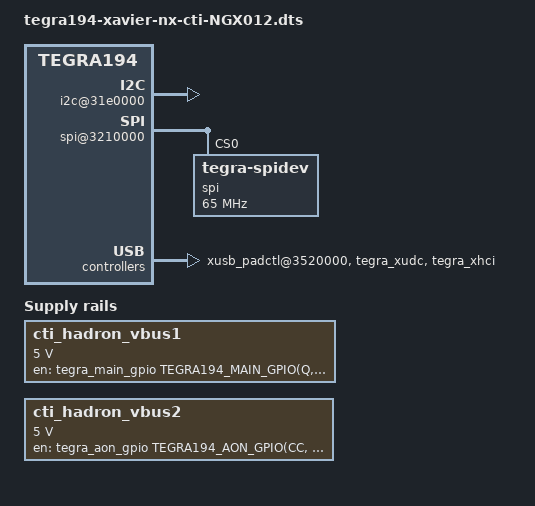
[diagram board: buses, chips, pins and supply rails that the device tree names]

/dts-v1/;
#include <dt-bindings/gpio/tegra194-gpio.h>
#include "tegra194-xavier-nx-cti-base.dtsi"
#include <dt-bindings/pinctrl/pinctrl-tegra.h>
/ {
	nvidia,dtsfilename = "tegra194-xavier-nx-cti-NGX012.dts";

pinmux@2430000 {

pinmux_default: common {
    uart1_tx_pr2 {
				nvidia,pins = "uart1_tx_pr2";
				nvidia,function = "uarta";
				nvidia,pull = <TEGRA_PIN_PULL_NONE>;
				nvidia,tristate = <TEGRA_PIN_DISABLE>;
				nvidia,enable-input = <TEGRA_PIN_DISABLE>;
				nvidia,io-high-voltage = <TEGRA_PIN_DISABLE>;
				nvidia,lpdr = <TEGRA_PIN_DISABLE>;
			};

			uart1_rx_pr3 {
				nvidia,pins = "uart1_rx_pr3";
				nvidia,function = "uarta";
				nvidia,pull = <TEGRA_PIN_PULL_DOWN>;
				nvidia,tristate = <TEGRA_PIN_ENABLE>;
				nvidia,enable-input = <TEGRA_PIN_ENABLE>;
				nvidia,io-high-voltage = <TEGRA_PIN_DISABLE>;
				nvidia,lpdr = <TEGRA_PIN_DISABLE>;
			};

			uart1_rts_pr4 {
				nvidia,pins = "uart1_rts_pr4";
				nvidia,function = "uarta";
				nvidia,pull = <TEGRA_PIN_PULL_DOWN>;
				nvidia,tristate = <TEGRA_PIN_DISABLE>;
				nvidia,enable-input = <TEGRA_PIN_ENABLE>;
				nvidia,lpdr = <TEGRA_PIN_DISABLE>;
			};

			uart1_cts_pr5 {
				nvidia,pins = "uart1_cts_pr5";
				nvidia,function = "uarta";
				nvidia,pull = <TEGRA_PIN_PULL_DOWN>;
				nvidia,tristate = <TEGRA_PIN_DISABLE>;
				nvidia,enable-input = <TEGRA_PIN_ENABLE>;
				nvidia,lpdr = <TEGRA_PIN_DISABLE>;
			};
};
};

    i2c@31e0000{
        status = "okay";
    };
	
	spi@3230000{
		status = "disabled";
	};

    spi@3210000{/*SPI1*/
        status = "okay";
        compatible = "nvidia,tegra186-spi";
        spi@0 {
            compatible = "tegra-spidev";
            reg = <0x0>;
            spi-max-frequency = <65000000>;
                controller-data{
                nvidia,enable-hw-based-cs;
            };
        };
    };
//Note USB3 P1 is only on ORIN-NX regular nx variety will only have 1 usb!
    fixed-regulators{
        cti_hadron_vbus1: regulator@201 {            
            compatible = "regulator-fixed";
            reg=<201>;
            regulator-name = "cti-hadron-vbus1";
            regulator-min-microvolt = <5000000>;
            regulator-max-microvolt = <5000000>;
            gpio = <&tegra_main_gpio TEGRA194_MAIN_GPIO(Q, 3) 0>; 
            enable-active-high;
            regulator-boot-on;
            regulator-always-on;
        };
        cti_hadron_vbus2: regulator@202 {
            compatible = "regulator-fixed";
            reg=<202>;
            regulator-name = "cti-hadron-vbus2";
            regulator-min-microvolt = <5000000>;
            regulator-max-microvolt = <5000000>;
            gpio = <&tegra_aon_gpio TEGRA194_AON_GPIO(CC, 2) 0>;
            enable-active-high;
            regulator-boot-on;
            regulator-always-on;
        };

    };
	
	xusb_padctl@3520000{
            status = "okay";

        pads {
            usb2 {
                lanes {
                    usb2-0 {
                        nvidia,function = "xusb";
                        vbus-supply = <&cti_hadron_vbus1>;
                        status = "okay";
                    };
                    usb2-1 {
                        nvidia,function = "xusb";
                        vbus-supply = <&cti_hadron_vbus2>;
                        status = "okay";
                    };
                    usb2-2 {
                        nvidia,function = "xusb";
                        status = "okay";
                    };
                };
            };
            usb3 {
                lanes {
				      usb3-2 {
                        nvidia,function = "xusb";
                        status = "okay";
                    };
                };
            };
        };

        ports {
			usb2-0 {
				mode = "otg";
				status = "okay";
				usb-role-switch;
				connector {
					compatible = "usb-b-connector", "gpio-usb-b-connector";
		            label = "micro-USB";
                    type = "micro";
                    vbus-gpios = <&tegra_main_gpio TEGRA194_MAIN_GPIO(Z, 1) GPIO_ACTIVE_HIGH>;
					id-gpios = <&tegra_main_gpio TEGRA194_MAIN_GPIO(Q, 1) GPIO_ACTIVE_HIGH>;
				};
			};
            usb2-1 {
                mode = "host";
                status = "okay";
            };
            usb2-2 {
                mode = "host";
                vbus-supply = <&battery_reg>;
                status = "okay";
            };
            usb3-2 {
                nvidia,usb2-companion = <0>;
                status = "okay";
            };
        };

};

	tegra_xudc: xudc@3550000 {
		phys = <&{/xusb_padctl@3520000/pads/usb2/lanes/usb2-0}>,
				<&{/xusb_padctl@3520000/pads/usb3/lanes/usb3-2}>;
		phy-names = "usb2-0" ,"usb3-2";
		nvidia,xusb-padctl = <&xusb_padctl>;
		nvidia,boost_cpu_freq = <1200>;
		status = "okay";
	};

	tegra_xhci: xhci@3610000 {
		phys = <&{/xusb_padctl@3520000/pads/usb2/lanes/usb2-0}>,
			<&{/xusb_padctl@3520000/pads/usb2/lanes/usb2-1}>,
			<&{/xusb_padctl@3520000/pads/usb2/lanes/usb2-2}>,
			<&{/xusb_padctl@3520000/pads/usb3/lanes/usb3-2}>;
		phy-names = "usb2-0", "usb2-1", "usb2-2", "usb3-2";
		nvidia,xusb-padctl = <&xusb_padctl>;
		status = "okay";
	};
};



//sor0
&head1 {
    status = "disabled";
};

//sor1
&head2 {
    status = "disabled";
};

&sor0 {
    status = "disabled";
    nvidia,active-panel = <&sor0_hdmi_display>;
};

&sor0_hdmi_display {
    status = "disabled";
};

&sor0_dp_display {
	status = "disabled";
};

&dpaux0 {
    status = "disabled";
};

&sor1 {
    status = "disabled";
    nvidia,active-panel = <&sor1_hdmi_display>;
};

&sor1_hdmi_display {
    status = "disabled";
};

&dpaux1 {
    status = "disabled";
};

//Note disabled tegra_cec causes i2c-8 to fail!
